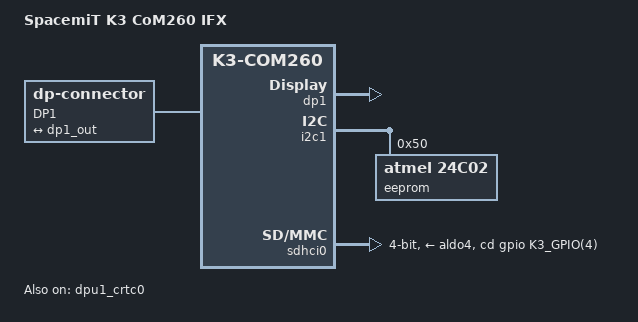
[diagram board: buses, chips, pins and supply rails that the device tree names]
// SPDX-License-Identifier: (GPL-2.0 OR MIT)
/*
 * Copyright (c) 2026 SpacemiT (Hangzhou) Technology Co. Ltd
 * Copyright (c) 2026 Yixun Lan <dlan@kernel.org>
 */

#include "k3-com260.dtsi"
#include "k3-display.dtsi"

/ {
	model = "SpacemiT K3 CoM260 IFX";
	compatible = "spacemit,k3-com260-ifx", "spacemit,k3-com260", "spacemit,k3";

	aliases {
		serial0 = &uart0;
		ethernet0 = &eth1;
	};

	chosen {
		stdout-path = "serial0:115200n8";
	};

	connector {
		compatible = "dp-connector";
		label = "DP1";
		type = "full-size";

		port {
			dp1_connector_in: endpoint {
				remote-endpoint = <&dp1_out>;
			};
		};
	};
};

&dpu1_crtc0 {
	status = "okay";
};

&dp1 {
	pinctrl-names = "default";
	pinctrl-0 = <&dp1_3_cfg>;
	status = "okay";
};

&dp1_out {
	remote-endpoint = <&dp1_connector_in>;
};

&i2c1 {
	pinctrl-names = "default";
	pinctrl-0 = <&i2c1_1_cfg>;
	status = "okay";

	eeprom@50 {
		compatible = "atmel,24c02";
		pagesize = <8>;
		reg = <0x50>;
		read-only;
		size = <256>;
		status = "okay";
	};
};

&sdhci0 {
	pinctrl-names = "default","uhs";
	pinctrl-0 = <&mmc1_cfg>;
	pinctrl-1 = <&mmc1_uhs_cfg>;
	bus-width = <4>;
	cd-gpios = <&gpio K3_GPIO(4) GPIO_ACTIVE_HIGH>;
	no-mmc;
	no-sdio;
	disable-wp;
	cap-sd-highspeed;
	vmmc-supply = <&aldo4>;
	vqmmc-supply = <&aldo1>;
	sd-uhs-sdr25;
	sd-uhs-sdr50;
	sd-uhs-sdr104;
	status = "okay";
};
